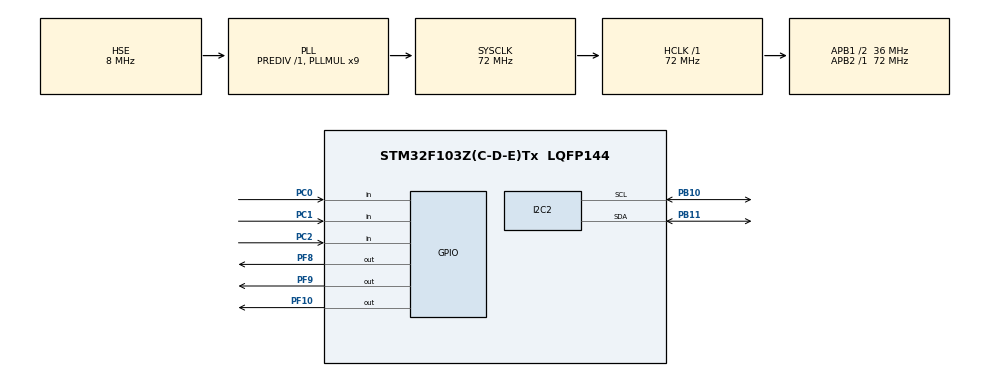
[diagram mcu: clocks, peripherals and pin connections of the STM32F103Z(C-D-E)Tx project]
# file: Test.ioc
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I2C2.I2C_Mode=I2C_Fast
Mcu.Family=STM32F1
Mcu.Name=STM32F103Z(C-D-E)Tx
Mcu.Package=LQFP144
NVIC.PriorityGroup=NVIC_PRIORITYGROUP_4
OSC_IN.Mode=HSE-External-Oscillator
OSC_IN.Signal=RCC_OSC_IN
OSC_OUT.Mode=HSE-External-Oscillator
OSC_OUT.Signal=RCC_OSC_OUT
PA13.Mode=Serial_Wire
PA13.Signal=SYS_JTMS-SWDIO
PA14.Mode=Serial_Wire
PA14.Signal=SYS_JTCK-SWCLK
PB10.Mode=I2C
PB10.Signal=I2C2_SCL
PB11.Mode=I2C
PB11.Signal=I2C2_SDA
PC0.Signal=GPIO_Input
PC1.Signal=GPIO_Input
PC2.Signal=GPIO_Input
PF10.Signal=GPIO_Output
PF8.Signal=GPIO_Output
PF9.Signal=GPIO_Output
ProjectManager.HeapSize=0x200
ProjectManager.StackSize=0x400
ProjectManager.TargetToolchain=STM32CubeIDE
RCC.AHBFreq_Value=72000000
RCC.APB1CLKDivider=RCC_HCLK_DIV2
RCC.APB1Freq_Value=36000000
RCC.APB1TimFreq_Value=72000000
RCC.APB2Freq_Value=72000000
RCC.APB2TimFreq_Value=72000000
RCC.HCLKFreq_Value=72000000
RCC.PLLMUL=RCC_PLL_MUL9
RCC.PLLSourceVirtual=RCC_PLLSOURCE_HSE
RCC.SYSCLKFreq_VALUE=72000000
RCC.SYSCLKSource=RCC_SYSCLKSOURCE_PLLCLK
RCC.USBFreq_Value=72000000
board=custom

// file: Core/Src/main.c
/* USER CODE BEGIN Header */
/**
  ******************************************************************************
  * @file           : main.c
  * @brief          : Main program body
  ******************************************************************************
  * @attention
  * Copyright (c) 2024 STMicroelectronics.
  * All rights reserved.
  *
  * This software is licensed under terms that can be found in the LICENSE file
  * in the root directory of this software component.
  * If no LICENSE file comes with this software, it is provided AS-IS.
  *
  ******************************************************************************
  */
/* USER CODE END Header */
#include "main.h"

/* USER CODE BEGIN Includes */
#include "ssd1306.h"
#include "fonts.h"
/* USER CODE END Includes */

/* USER CODE BEGIN PD */
void SystemClock_Config(void);

static void MX_GPIO_Init(void);

/* USER CODE END PD */

/* USER CODE BEGIN PM */
#define K1 GPIO_PIN_0
#define K2 GPIO_PIN_1
#define K3 GPIO_PIN_2
#define D1 GPIO_PIN_8
#define D2 GPIO_PIN_9
#define D3 GPIO_PIN_10

/* USER CODE END PM */

I2C_HandleTypeDef hi2c2;

void SystemClock_Config(void);

static void MX_GPIO_Init(void);

static void MX_I2C2_Init(void);

/* USER CODE BEGIN 0 */

void TurnOnLights(uint16_t GPIO_PIN) {
	HAL_GPIO_WritePin(GPIOF, GPIO_PIN, GPIO_PIN_SET);
}

void TurnOffLights(uint16_t GPIO_PIN) {
	HAL_GPIO_WritePin(GPIOF, GPIO_PIN, GPIO_PIN_RESET);
}

void CheckButtons(void) {
	// PC0 按键被按�???
	if (HAL_GPIO_ReadPin(GPIOC, K1) == GPIO_PIN_SET) {
		TurnOnLights(D1);

	} else {
		TurnOffLights(D1);
	}
	if (HAL_GPIO_ReadPin(GPIOC, K2) == GPIO_PIN_SET) {

		TurnOnLights(D2);
	} else {
		TurnOffLights(D2);
	}
	if (HAL_GPIO_ReadPin(GPIOC, K3) == GPIO_PIN_SET) {

		TurnOnLights(D3);
	} else {
		TurnOffLights(D3);
	}
}
/* USER CODE END 0 */

int main(void) {
	/* USER CODE BEGIN 1 */
	HAL_Init();
	SystemClock_Config();
	MX_GPIO_Init();
	MX_I2C2_Init();
	SSD1306_Init();
//	char string[5];

	SSD1306_GotoXY(0, 0);
	SSD1306_Puts("HelloWorld", &Font_11x18, 1);
	SSD1306_GotoXY(0, 30);
	SSD1306_Puts("OLED DEMO", &Font_11x18, 1);
	SSD1306_UpdateScreen();

	/* USER CODE END 1 */

	/* MCU Configuration--------------------------------------------------------*/

	/* Reset of all peripherals, Initializes the Flash interface and the Systick. */
	HAL_Init();

	/* Configure the system clock */
	SystemClock_Config();

	/* Initialize all configured peripherals */
	MX_GPIO_Init();
	MX_I2C2_Init();

	/* Infinite loop */
	/* USER CODE BEGIN WHILE */
	while (1) {

		CheckButtons();
	}
	/* USER CODE END WHILE */

}

void SystemClock_Config(void) {
	RCC_OscInitTypeDef RCC_OscInitStruct = {0};
	RCC_ClkInitTypeDef RCC_ClkInitStruct = {0};

	/** Initializes the RCC Oscillators according to the specified parameters
	* in the RCC_OscInitTypeDef structure.
	*/
	RCC_OscInitStruct.OscillatorType = RCC_OSCILLATORTYPE_HSE;
	RCC_OscInitStruct.HSEState = RCC_HSE_ON;
	RCC_OscInitStruct.HSEPredivValue = RCC_HSE_PREDIV_DIV1;
	RCC_OscInitStruct.HSIState = RCC_HSI_ON;
	RCC_OscInitStruct.PLL.PLLState = RCC_PLL_ON;
	RCC_OscInitStruct.PLL.PLLSource = RCC_PLLSOURCE_HSE;
	RCC_OscInitStruct.PLL.PLLMUL = RCC_PLL_MUL9;
	if (HAL_RCC_OscConfig(&RCC_OscInitStruct) != HAL_OK) {
		Error_Handler();
	}

	/** Initializes the CPU, AHB and APB buses clocks
	*/
	RCC_ClkInitStruct.ClockType = RCC_CLOCKTYPE_HCLK | RCC_CLOCKTYPE_SYSCLK
								  | RCC_CLOCKTYPE_PCLK1 | RCC_CLOCKTYPE_PCLK2;
	RCC_ClkInitStruct.SYSCLKSource = RCC_SYSCLKSOURCE_PLLCLK;
	RCC_ClkInitStruct.AHBCLKDivider = RCC_SYSCLK_DIV1;
	RCC_ClkInitStruct.APB1CLKDivider = RCC_HCLK_DIV2;
	RCC_ClkInitStruct.APB2CLKDivider = RCC_HCLK_DIV1;

	if (HAL_RCC_ClockConfig(&RCC_ClkInitStruct, FLASH_LATENCY_2) != HAL_OK) {
		Error_Handler();
	}
}

static void MX_I2C2_Init(void) {

	hi2c2.Instance = I2C2;
	hi2c2.Init.ClockSpeed = 400000;
	hi2c2.Init.DutyCycle = I2C_DUTYCYCLE_2;
	hi2c2.Init.OwnAddress1 = 0;
	hi2c2.Init.AddressingMode = I2C_ADDRESSINGMODE_7BIT;
	hi2c2.Init.DualAddressMode = I2C_DUALADDRESS_DISABLE;
	hi2c2.Init.OwnAddress2 = 0;
	hi2c2.Init.GeneralCallMode = I2C_GENERALCALL_DISABLE;
	hi2c2.Init.NoStretchMode = I2C_NOSTRETCH_DISABLE;
	if (HAL_I2C_Init(&hi2c2) != HAL_OK) {
		Error_Handler();
	}

}

static void MX_GPIO_Init(void) {
	GPIO_InitTypeDef GPIO_InitStruct = {0};

	/* GPIO Ports Clock Enable */
	__HAL_RCC_GPIOF_CLK_ENABLE();
	__HAL_RCC_GPIOC_CLK_ENABLE();
	__HAL_RCC_GPIOB_CLK_ENABLE();
	__HAL_RCC_GPIOA_CLK_ENABLE();

	/*Configure GPIO pin Output Level */
	HAL_GPIO_WritePin(GPIOF, GPIO_PIN_8 | GPIO_PIN_9 | GPIO_PIN_10, GPIO_PIN_RESET);

	/*Configure GPIO pins : PF8 PF9 PF10 */
	GPIO_InitStruct.Pin = GPIO_PIN_8 | GPIO_PIN_9 | GPIO_PIN_10;
	GPIO_InitStruct.Mode = GPIO_MODE_OUTPUT_PP;
	GPIO_InitStruct.Pull = GPIO_NOPULL;
	GPIO_InitStruct.Speed = GPIO_SPEED_FREQ_LOW;
	HAL_GPIO_Init(GPIOF, &GPIO_InitStruct);

	/*Configure GPIO pins : PC0 PC1 PC2 */
	GPIO_InitStruct.Pin = GPIO_PIN_0 | GPIO_PIN_1 | GPIO_PIN_2;
	GPIO_InitStruct.Mode = GPIO_MODE_INPUT;
	GPIO_InitStruct.Pull = GPIO_NOPULL;
	HAL_GPIO_Init(GPIOC, &GPIO_InitStruct);

}

void Error_Handler(void) {
	__disable_irq();
	while (1) {
	}
}
